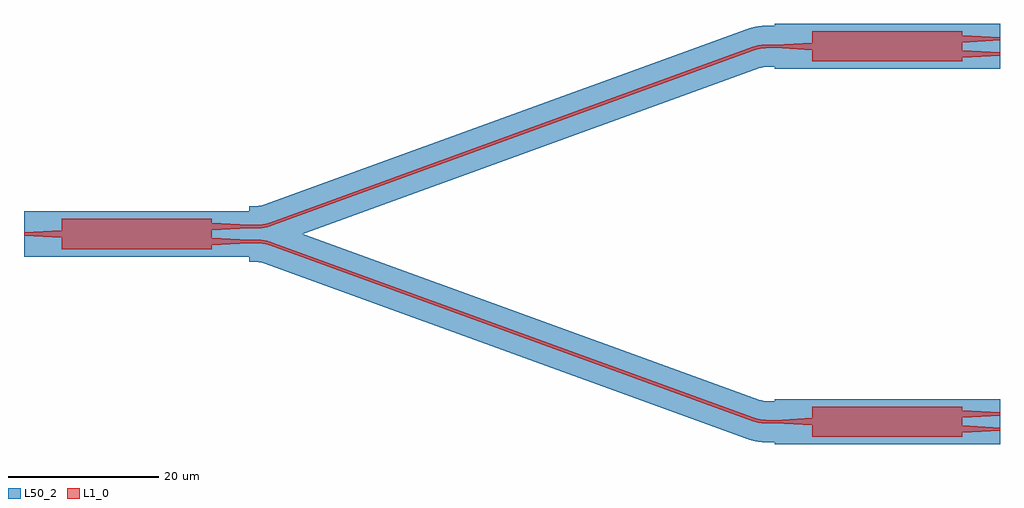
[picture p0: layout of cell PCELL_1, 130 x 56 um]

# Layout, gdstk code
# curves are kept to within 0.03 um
import gdstk
lib = gdstk.Library(unit=1e-6, precision=1e-09)
def R(c, l, rs):  # rectangles x0, y0, x1, y1
    for r in rs: c.add(gdstk.rectangle(r[:2], r[2:], *l))
def P(c, l, *ps):  # polygons
    for p in ps: c.add(gdstk.Polygon(p, *l))
L1_0 = (1, 0)
L50_2 = (50, 2)

mmi1muti2 = lib.new_cell('MMI1muti2')
R(mmi1muti2, L1_0, [(0,-2,20,2)])
P(mmi1muti2, L1_0, [(-5,-0.225),(-5,0.225),(0,0.5),(0,-0.5)],
  [(20,0.5),(20,1.5),(25,1.225),(25,0.775)],
  [(20,-1.5),(20,-0.5),(25,-0.775),(25,-1.225)])
R(mmi1muti2, L50_2, [(-5,-3,25,3)])

pcell_1_sp_0_0_out1_to_s = lib.new_cell('PCELL_1_sp_0_0_out1_to_sp_1_0_in1')
P(pcell_1_sp_0_0_out1_to_s, L1_0, [(25,-1.225),(26.618,-1.251),(27.192,-1.347),(27.752,-1.513),(92.181,-24.941),(92.795,-25.111),(93.335,-25.196),(95,-25.225),(95,-24.775),(93.382,-24.749),(92.808,-24.653),(92.248,-24.487),(27.819,-1.059),(27.205,-0.889),(26.665,-0.804),(25,-0.775)])
P(pcell_1_sp_0_0_out1_to_s, L50_2, [(25,-3.725),(26.238,-3.728),(26.908,-3.866),(91.368,-27.305),(92.145,-27.527),(92.94,-27.668),(93.746,-27.724),(95,-27.725),(95,-22.275),(93.762,-22.272),(93.092,-22.134),(28.632,1.305),(27.855,1.527),(27.06,1.668),(26.254,1.724),(25,1.725)])

pcell_1_sp_0_0_out2_to_s = lib.new_cell('PCELL_1_sp_0_0_out2_to_sp_1_1_in1')
P(pcell_1_sp_0_0_out2_to_s, L1_0, [(25,0.775),(26.665,0.804),(27.205,0.889),(27.819,1.059),(92.248,24.487),(92.808,24.653),(93.382,24.749),(95,24.775),(95,25.225),(93.335,25.196),(92.795,25.111),(92.181,24.941),(27.752,1.513),(27.192,1.347),(26.618,1.251),(25,1.225)])
P(pcell_1_sp_0_0_out2_to_s, L50_2, [(25,-1.725),(26.254,-1.724),(27.06,-1.668),(27.855,-1.527),(28.632,-1.305),(93.092,22.134),(93.762,22.272),(95,22.275),(95,27.725),(93.746,27.724),(92.94,27.668),(92.145,27.527),(91.368,27.305),(26.908,3.866),(26.238,3.728),(25,3.725)])

pcell_1 = lib.new_cell('PCELL_1')
pcell_1.add(gdstk.Reference(mmi1muti2, (0,0)))
pcell_1.add(gdstk.Reference(mmi1muti2, (100,-25)))
pcell_1.add(gdstk.Reference(mmi1muti2, (100,25)))
pcell_1.add(gdstk.Reference(pcell_1_sp_0_0_out1_to_s, (0,0)))
pcell_1.add(gdstk.Reference(pcell_1_sp_0_0_out2_to_s, (0,0)))

lib.write_gds('PCELL_1.gds')
